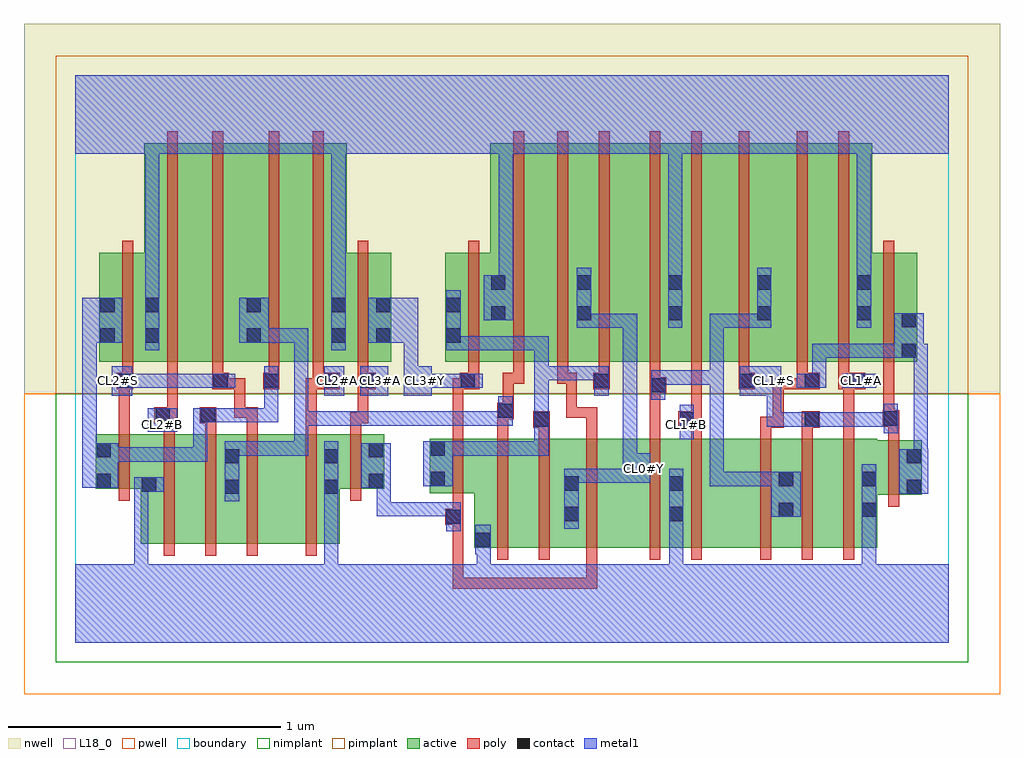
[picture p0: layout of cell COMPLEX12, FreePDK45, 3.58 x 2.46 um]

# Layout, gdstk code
import gdstk
lib = gdstk.Library(unit=1e-6, precision=1e-09)
def R(c, l, rs):  # rectangles x0, y0, x1, y1
    for r in rs: c.add(gdstk.rectangle(r[:2], r[2:], *l))
def A(c, l, x, y, w, h, nx, ny, dx, dy):  # array of equal rectangles
    R(c, l, [(x+i*dx, y+j*dy, x+i*dx+w, y+j*dy+h) for i in range(nx) for j in range(ny)])
active = (1, 0)
pwell = (2, 0)
nwell = (3, 0)
nimplant = (4, 0)
pimplant = (5, 0)
poly = (9, 0)
contact = (10, 0)
metal1 = (11, 0)
L18_0 = (18, 0)
boundary = (235, 0)

complex12 = lib.new_cell('COMPLEX12')
R(complex12, active, [(1.462,0.348,1.642,0.748), (1.462,0.348,1.522,0.684), (1.642,0.348,1.848,0.748), (1.788,0.348,2.048,0.748), (2.048,0.348,2.232,0.748), (2.172,0.348,2.352,0.748), (2.172,0.348,2.232,0.614), (2.352,0.348,2.634,0.748), (2.574,0.348,2.758,0.748), (2.758,0.348,2.938,0.748), (2.878,0.348,2.938,0.742), (1.788,0.356,1.848,0.748), (2.574,0.356,2.634,0.748), (0.24,0.364,0.42,0.764), (0.42,0.364,0.604,0.764), (0.544,0.364,0.724,0.764), (0.544,0.364,0.604,0.764), (0.724,0.364,0.968,0.764), (0.908,0.542,0.968,0.764), (2.878,0.542,3.102,0.742), (3.042,0.542,3.102,0.742), (1.298,0.548,1.522,0.748), (0.24,0.55,0.3,0.61), (0.074,0.564,0.134,0.764), (0.074,0.564,0.3,0.764), (0.908,0.564,1.132,0.764), (1.072,0.564,1.132,0.764), (1.298,0.57,1.358,0.748), (0.088,1.03,0.148,1.43), (0.088,1.03,0.312,1.43), (0.252,1.03,0.312,1.83), (0.252,1.03,0.432,1.83), (0.432,1.03,0.684,1.83), (0.624,1.03,0.684,1.724), (0.624,1.03,0.814,1.83), (0.814,1.03,0.994,1.83), (0.934,1.03,1.158,1.43), (0.934,1.03,0.994,1.83), (1.098,1.03,1.158,1.43), (1.356,1.03,1.416,1.43), (1.356,1.03,1.58,1.43), (1.52,1.03,1.7,1.83), (1.52,1.03,1.58,1.356), (1.7,1.03,1.894,1.83), (1.834,1.03,1.894,1.724), (1.834,1.03,2.048,1.83), (2.048,1.03,2.228,1.83), (2.168,1.03,2.228,1.83), (2.168,1.03,2.374,1.83), (2.374,1.03,2.554,1.83), (2.494,1.03,2.74,1.83), (2.494,1.03,2.554,1.724), (2.74,1.03,2.92,1.83), (2.86,1.03,3.084,1.43), (2.86,1.03,2.92,1.83), (3.024,1.03,3.084,1.43)])
R(complex12, pwell, [(-0.188,-0.188,3.388,0.912)])
R(complex12, nwell, [(-0.188,0.912,3.388,2.268)])
R(complex12, nimplant, [(-0.072,-0.072,3.272,0.912)])
R(complex12, pimplant, [(-0.072,0.912,3.272,2.152)])
A(complex12, poly, 1.554, 0.198, 0.04, 0.04, 3, 1, 0.106, 0)
A(complex12, poly, 1.554, 0.198, 0.146, 0.04, 3, 1, 0.106, 0)
A(complex12, poly, 2.51, 0.304, 0.04, 0.488, 3, 1, 0.152, 0)
A(complex12, poly, 0.324, 0.32, 0.04, 0.488, 3, 1, 0.152, 0)
R(complex12, poly, [(1.382,0.198,1.422,0.238), (1.382,0.198,1.594,0.238), (1.382,0.198,1.422,0.472), (1.554,0.198,1.594,0.238), (1.554,0.198,1.594,0.238), (1.766,0.198,1.806,0.238), (1.766,0.198,1.806,0.238), (1.872,0.198,1.912,0.238), (1.872,0.198,1.912,0.344), (1.546,0.304,1.586,0.792), (1.698,0.304,1.738,0.792), (1.872,0.304,1.912,0.792), (2.104,0.304,2.144,0.792), (2.256,0.304,2.296,0.792), (0.844,0.32,0.884,0.808), (1.356,0.432,1.422,0.492), (1.382,0.432,1.422,0.472), (1.382,0.432,1.422,0.472), (1.382,0.452,1.422,0.544), (2.978,0.498,3.018,0.786), (1.382,0.504,1.422,0.792), (0.16,0.52,0.2,0.808), (1.008,0.52,1.048,0.808), (2.978,0.746,3.018,0.832), (1.382,0.752,1.422,0.97), (1.546,0.752,1.586,0.86), (1.698,0.752,1.738,0.828), (1.872,0.752,1.912,0.864), (2.104,0.752,2.144,0.954), (2.256,0.752,2.296,0.828), (2.51,0.752,2.55,0.828), (2.662,0.752,2.702,0.828), (2.814,0.752,2.854,0.97), (0.16,0.768,0.2,0.97), (0.324,0.768,0.364,0.844), (0.476,0.768,0.516,0.844), (0.628,0.768,0.668,0.864), (0.844,0.768,0.884,0.97), (1.008,0.768,1.048,0.844), (1.678,0.788,1.738,0.848), (2.21,0.788,2.296,0.848), (2.51,0.788,2.55,0.828), (2.51,0.788,2.596,0.828), (2.556,0.788,2.596,0.828), (2.556,0.788,2.596,0.97), (2.662,0.788,2.728,0.848), (2.958,0.792,3.018,0.852), (0.29,0.804,0.364,0.864), (0.456,0.804,0.516,0.864), (1.008,0.804,1.074,0.844), (1.034,0.804,1.074,0.97), (2.256,0.808,2.296,0.848), (2.256,0.808,2.296,0.848), (2.256,0.808,2.296,1.026), (2.96,0.812,3,1.026), (2.96,0.812,3,0.852), (2.96,0.812,3,0.852), (1.546,0.82,1.606,0.88), (0.324,0.824,0.364,0.864), (0.324,0.824,0.376,0.864), (0.336,0.824,0.376,1.026), (0.582,0.824,0.622,0.864), (0.582,0.824,0.668,0.864), (0.582,0.824,0.622,0.97), (0.628,0.824,0.668,0.864), (1.798,0.824,1.838,0.864), (1.798,0.824,1.912,0.864), (1.798,0.824,1.838,0.99), (1.872,0.824,1.912,0.864), (1.566,0.84,1.606,0.99), (2.104,0.914,2.144,0.954), (2.104,0.914,2.144,0.954), (2.104,0.914,2.166,0.974), (0.152,0.93,0.212,0.99), (0.16,0.93,0.2,0.97), (0.16,0.93,0.2,0.97), (0.502,0.93,0.562,0.99), (0.522,0.93,0.622,0.97), (0.582,0.93,0.622,0.97), (0.688,0.93,0.748,0.99), (0.844,0.93,0.91,0.97), (0.87,0.93,0.91,0.97), (0.87,0.93,0.968,0.99), (1.034,0.93,1.1,0.99), (1.382,0.93,1.448,0.97), (1.408,0.93,1.448,0.97), (1.408,0.93,1.48,0.99), (1.898,0.93,1.958,0.99), (2.43,0.93,2.49,0.99), (2.556,0.93,2.596,0.97), (2.556,0.93,2.684,0.97), (2.644,0.93,2.728,0.99), (2.796,0.93,2.894,0.99), (2.814,0.93,2.854,0.97), (2.814,0.93,2.854,0.97), (2.104,0.934,2.144,1.026), (0.172,0.95,0.212,1.026), (0.502,0.95,0.542,1.026), (0.708,0.95,0.748,1.026), (0.87,0.95,0.91,1.026), (1.034,0.95,1.074,1.026), (1.44,0.95,1.48,1.026), (1.566,0.95,1.644,0.99), (1.604,0.95,1.644,1.026), (1.766,0.95,1.806,0.99), (1.766,0.95,1.806,1.026), (1.766,0.95,1.838,0.99), (1.798,0.95,1.838,0.99), (1.918,0.95,1.958,1.026), (2.43,0.95,2.47,1.026), (2.644,0.95,2.684,1.026), (2.796,0.95,2.836,1.026), (0.172,0.986,0.212,1.474), (0.336,0.986,0.376,1.874), (0.502,0.986,0.542,1.874), (0.708,0.986,0.748,1.874), (0.87,0.986,0.91,1.874), (1.034,0.986,1.074,1.474), (1.44,0.986,1.48,1.474), (1.604,0.986,1.644,1.874), (1.766,0.986,1.806,1.874), (1.918,0.986,1.958,1.874), (2.104,0.986,2.144,1.874), (2.256,0.986,2.296,1.874), (2.43,0.986,2.47,1.874), (2.644,0.986,2.684,1.874), (2.796,0.986,2.836,1.874), (2.96,0.986,3,1.474)])
R(complex12, contact, [(1.466,0.352,1.518,0.404), (1.36,0.436,1.412,0.488), (1.792,0.446,1.844,0.498), (2.176,0.446,2.228,0.498), (2.578,0.462,2.63,0.514), (2.882,0.462,2.934,0.514), (0.548,0.546,0.6,0.598), (0.912,0.546,0.964,0.598), (3.046,0.546,3.098,0.598), (0.244,0.554,0.296,0.606), (1.792,0.558,1.844,0.61), (2.176,0.558,2.228,0.61), (0.078,0.568,0.13,0.62), (1.076,0.568,1.128,0.62), (1.302,0.574,1.354,0.626), (2.578,0.574,2.63,0.626), (2.882,0.574,2.934,0.626), (0.548,0.658,0.6,0.71), (0.912,0.658,0.964,0.71), (3.046,0.658,3.098,0.71), (0.078,0.68,0.13,0.732), (1.076,0.68,1.128,0.732), (1.302,0.686,1.354,0.738), (1.682,0.792,1.734,0.844), (2.214,0.792,2.266,0.844), (2.672,0.792,2.724,0.844), (2.962,0.796,3.014,0.848), (0.294,0.808,0.346,0.86), (0.46,0.808,0.512,0.86), (1.55,0.824,1.602,0.876), (2.11,0.918,2.162,0.97), (0.156,0.934,0.208,0.986), (0.506,0.934,0.558,0.986), (0.692,0.934,0.744,0.986), (0.912,0.934,0.964,0.986), (1.044,0.934,1.096,0.986), (1.412,0.934,1.464,0.986), (1.902,0.934,1.954,0.986), (2.434,0.934,2.486,0.986), (2.672,0.934,2.724,0.986), (2.838,0.934,2.89,0.986), (3.028,1.044,3.08,1.096), (0.092,1.1,0.144,1.152), (0.256,1.1,0.308,1.152), (0.628,1.1,0.68,1.152), (0.938,1.1,0.99,1.152), (1.102,1.1,1.154,1.152), (1.36,1.1,1.412,1.152), (3.028,1.156,3.08,1.208), (1.524,1.182,1.576,1.234), (1.838,1.182,1.89,1.234), (2.172,1.182,2.224,1.234), (2.498,1.182,2.55,1.234), (2.864,1.182,2.916,1.234), (0.092,1.212,0.144,1.264), (0.256,1.212,0.308,1.264), (0.628,1.212,0.68,1.264), (0.938,1.212,0.99,1.264), (1.102,1.212,1.154,1.264), (1.36,1.212,1.412,1.264), (1.524,1.294,1.576,1.346), (1.838,1.294,1.89,1.346), (2.172,1.294,2.224,1.346), (2.498,1.294,2.55,1.346), (2.864,1.294,2.916,1.346)])
R(complex12, metal1, [(0,0,3.2,0.288), (0.216,0.236,0.268,0.606), (0.912,0.236,0.964,0.57), (1.47,0.236,1.522,0.376), (2.176,0.236,2.228,0.47), (2.882,0.236,2.934,0.288), (2.882,0.236,2.934,0.288), (2.882,0.236,2.934,0.486), (1.466,0.324,1.522,0.432), (1.47,0.324,1.522,0.376), (1.47,0.324,1.522,0.376), (1.36,0.408,1.412,0.516), (1.792,0.418,1.844,0.638), (2.176,0.418,2.228,0.47), (2.176,0.418,2.228,0.47), (2.176,0.418,2.228,0.638), (2.882,0.434,2.934,0.654), (2.55,0.462,2.658,0.626), (1.104,0.464,1.156,0.516), (1.104,0.464,1.256,0.516), (1.104,0.464,1.156,0.62), (1.204,0.464,1.256,0.516), (1.204,0.464,1.412,0.516), (0.548,0.518,0.6,0.738), (0.912,0.518,0.964,0.57), (0.912,0.518,0.964,0.57), (0.912,0.518,0.964,0.738), (3.018,0.546,3.126,0.71), (0.216,0.554,0.268,0.606), (0.216,0.554,0.268,0.606), (0.216,0.554,0.324,0.606), (0.026,0.568,0.158,0.732), (1.048,0.568,1.156,0.732), (1.274,0.574,1.382,0.738), (2.324,0.574,2.376,0.626), (2.324,0.574,2.382,0.626), (2.324,0.574,2.376,0.998), (2.33,0.574,2.382,0.626), (2.33,0.574,2.602,0.626), (1.792,0.586,1.844,0.638), (1.792,0.586,1.844,0.638), (1.792,0.586,1.844,0.638), (1.792,0.586,1.844,0.638), (1.792,0.586,2.058,0.638), (2.006,0.586,2.106,0.694), (2.006,0.642,2.058,1.206), (3.072,0.658,3.124,0.71), (3.072,0.658,3.124,0.71), (3.072,0.658,3.124,1.096), (0.106,0.664,0.158,0.716), (0.106,0.664,0.158,0.716), (0.106,0.664,0.374,0.716), (0.322,0.664,0.374,0.716), (0.322,0.664,0.374,0.716), (0.322,0.664,0.374,0.716), (0.322,0.664,0.484,0.716), (0.432,0.664,0.484,0.716), (0.432,0.664,0.484,0.86), (0.026,0.68,0.078,1.152), (0.548,0.686,0.696,0.738), (0.644,0.686,0.696,0.738), (0.644,0.686,0.854,0.738), (0.802,0.686,0.854,0.738), (0.802,0.686,0.854,0.848), (1.33,0.686,1.416,0.738), (1.364,0.686,1.416,0.738), (1.364,0.686,1.624,0.738), (1.572,0.686,1.624,0.738), (1.572,0.686,1.624,0.738), (1.572,0.686,1.624,0.738), (1.572,0.686,1.734,0.738), (1.682,0.686,1.734,0.738), (1.682,0.686,1.734,0.872), (2.214,0.746,2.266,0.872), (1.682,0.764,1.734,0.872), (2.962,0.768,3.014,0.876), (0.266,0.774,0.374,0.86), (2.534,0.792,2.586,0.844), (2.534,0.792,2.696,0.844), (2.534,0.792,2.586,0.958), (2.644,0.792,2.752,0.844), (2.7,0.792,2.752,0.844), (2.7,0.792,2.752,0.844), (2.7,0.792,2.862,0.844), (2.81,0.792,2.862,0.844), (2.81,0.792,2.862,0.844), (2.81,0.792,2.862,0.844), (2.81,0.792,3.014,0.844), (0.802,0.796,0.854,0.848), (0.802,0.796,0.854,0.848), (0.802,0.796,0.854,0.848), (0.802,0.796,0.964,0.848), (0.802,0.796,0.854,1.152), (0.912,0.796,0.964,0.848), (0.912,0.796,0.964,0.848), (0.912,0.796,0.964,0.848), (0.912,0.796,1.256,0.848), (1.204,0.796,1.256,0.848), (1.204,0.796,1.256,0.848), (1.204,0.796,1.256,0.848), (1.204,0.796,1.416,0.848), (1.364,0.796,1.416,0.848), (1.364,0.796,1.602,0.848), (1.55,0.796,1.602,0.848), (1.55,0.796,1.602,0.848), (1.55,0.796,1.602,0.904), (0.432,0.808,0.484,0.86), (0.432,0.808,0.484,0.86), (0.432,0.808,0.54,0.86), (0.488,0.808,0.744,0.86), (0.692,0.808,0.744,0.86), (0.692,0.808,0.744,0.958), (1.682,0.82,1.734,0.872), (1.682,0.82,1.734,0.872), (1.682,0.82,1.734,1.014), (2.11,0.89,2.162,0.998), (0.134,0.906,0.208,1.014), (0.692,0.906,0.744,0.958), (0.692,0.906,0.744,0.958), (0.692,0.906,0.744,1.014), (0.912,0.906,0.986,1.014), (1.044,0.906,1.146,1.014), (1.204,0.906,1.306,1.014), (1.902,0.906,1.954,1.014), (2.434,0.906,2.586,1.014), (2.534,0.906,2.586,0.958), (2.534,0.906,2.586,0.958), (0.156,0.934,0.374,0.986), (0.322,0.934,0.374,0.986), (0.322,0.934,0.374,0.986), (0.322,0.934,0.374,0.986), (0.322,0.934,0.49,0.986), (0.438,0.934,0.49,0.986), (0.438,0.934,0.53,0.986), (0.478,0.934,0.586,0.986), (1.254,0.934,1.306,0.986), (1.254,0.934,1.306,0.986), (1.254,0.934,1.436,0.986), (1.384,0.934,1.492,0.986), (2.644,0.934,2.752,0.986), (2.7,0.934,2.752,0.986), (2.7,0.934,2.752,0.986), (2.7,0.934,2.752,1.096), (2.81,0.934,2.934,0.986), (2.11,0.946,2.266,0.998), (2.214,0.946,2.266,0.998), (2.214,0.946,2.272,0.998), (2.22,0.946,2.272,0.998), (2.22,0.946,2.376,0.998), (2.324,0.946,2.376,0.998), (2.324,0.946,2.376,0.998), (2.324,0.946,2.376,0.998), (2.324,0.946,2.376,1.206), (1.204,0.962,1.256,1.152), (1.682,0.962,1.734,1.014), (1.682,0.962,1.734,1.014), (1.682,0.962,1.734,1.014), (1.682,0.962,1.844,1.014), (1.682,0.962,1.734,1.124), (1.792,0.962,1.844,1.014), (1.792,0.962,1.954,1.014), (2.7,1.044,2.752,1.096), (2.7,1.044,2.862,1.096), (2.81,1.044,2.862,1.096), (2.81,1.044,2.862,1.096), (2.81,1.044,2.862,1.096), (2.81,1.044,3.052,1.096), (3,1.044,3.052,1.096), (3,1.044,3.052,1.096), (3,1.044,3.108,1.208), (3.056,1.044,3.108,1.096), (3.056,1.044,3.124,1.096), (0.256,1.072,0.308,1.292), (0.938,1.072,0.99,1.292), (1.36,1.072,1.412,1.292), (1.36,1.072,1.416,1.124), (1.364,1.072,1.416,1.124), (1.364,1.072,1.624,1.124), (1.572,1.072,1.624,1.124), (1.572,1.072,1.624,1.124), (1.572,1.072,1.624,1.124), (1.572,1.072,1.734,1.124), (1.682,1.072,1.734,1.124), (0.026,1.1,0.078,1.152), (0.026,1.1,0.078,1.152), (0.026,1.1,0.078,1.152), (0.026,1.1,0.078,1.152), (0.026,1.1,0.172,1.264), (0.6,1.1,0.708,1.264), (0.656,1.1,0.708,1.152), (0.656,1.1,0.708,1.152), (0.656,1.1,0.854,1.152), (0.802,1.1,0.854,1.152), (0.802,1.1,0.854,1.152), (0.802,1.1,0.854,1.152), (1.074,1.1,1.256,1.264), (1.838,1.154,1.89,1.206), (1.838,1.154,1.89,1.206), (1.838,1.154,1.89,1.374), (1.838,1.154,2.058,1.206), (2.006,1.154,2.058,1.206), (2.006,1.154,2.058,1.206), (2.006,1.154,2.058,1.206), (2.172,1.154,2.224,1.374), (2.324,1.154,2.376,1.206), (2.324,1.154,2.55,1.206), (2.498,1.154,2.55,1.206), (2.498,1.154,2.55,1.206), (2.498,1.154,2.55,1.374), (2.864,1.154,2.916,1.374), (1.496,1.182,1.604,1.346), (0.256,1.24,0.308,1.844), (0.938,1.24,0.99,1.844), (1.552,1.294,1.604,1.844), (2.172,1.322,2.224,1.844), (2.864,1.322,2.916,1.844), (0,1.792,3.2,2.08)])
A(complex12, L18_0, 0.934, 0.934, 0.052, 0.052, 3, 1, 0.16, 0)
R(complex12, L18_0, [(0,0,3.2,0.288), (0.216,0.236,0.268,0.606), (0.912,0.236,0.964,0.57), (1.47,0.236,1.522,0.376), (2.176,0.236,2.228,0.47), (2.882,0.236,2.934,0.288), (2.882,0.236,2.934,0.288), (2.882,0.236,2.934,0.486), (1.466,0.324,1.522,0.432), (1.47,0.324,1.522,0.376), (1.47,0.324,1.522,0.376), (1.36,0.408,1.412,0.516), (1.792,0.418,1.844,0.638), (2.176,0.418,2.228,0.47), (2.176,0.418,2.228,0.47), (2.176,0.418,2.228,0.638), (2.882,0.434,2.934,0.654), (1.104,0.464,1.156,0.516), (1.104,0.464,1.156,0.62), (1.104,0.464,1.256,0.516), (1.204,0.464,1.256,0.516), (1.204,0.464,1.412,0.516), (0.912,0.518,0.964,0.57), (0.912,0.518,0.964,0.57), (0.912,0.518,0.964,0.738), (0.216,0.554,0.268,0.606), (0.216,0.554,0.268,0.606), (0.216,0.554,0.324,0.606), (1.048,0.568,1.156,0.732), (1.792,0.586,1.844,0.638), (1.792,0.586,1.844,0.638), (1.792,0.586,1.844,0.638), (1.792,0.586,1.844,0.638), (1.792,0.586,2.058,0.638), (2.006,0.586,2.106,0.694), (2.054,0.614,2.106,0.666), (2.006,0.642,2.058,1.206), (2.214,0.746,2.266,0.872), (2.962,0.768,3.014,0.876), (0.266,0.774,0.374,0.86), (0.294,0.774,0.346,0.826), (2.214,0.774,2.266,0.826), (2.534,0.792,2.586,0.844), (2.534,0.792,2.586,0.958), (2.534,0.792,2.696,0.844), (2.644,0.792,2.752,0.844), (2.7,0.792,2.752,0.844), (2.7,0.792,2.752,0.844), (2.7,0.792,2.862,0.844), (2.81,0.792,2.862,0.844), (2.81,0.792,2.862,0.844), (2.81,0.792,2.862,0.844), (2.81,0.792,3.014,0.844), (0.134,0.906,0.208,1.014), (0.912,0.906,0.986,1.014), (1.044,0.906,1.146,1.014), (1.204,0.906,1.306,1.014), (2.434,0.906,2.586,1.014), (2.534,0.906,2.586,0.958), (2.534,0.906,2.586,0.958), (0.134,0.934,0.186,0.986), (0.156,0.934,0.374,0.986), (0.322,0.934,0.374,0.986), (0.322,0.934,0.374,0.986), (0.322,0.934,0.374,0.986), (0.322,0.934,0.49,0.986), (0.438,0.934,0.49,0.986), (0.438,0.934,0.53,0.986), (0.478,0.934,0.586,0.986), (1.254,0.934,1.306,0.986), (1.254,0.934,1.306,0.986), (1.254,0.934,1.436,0.986), (1.384,0.934,1.492,0.986), (2.534,0.934,2.586,0.986), (2.81,0.934,2.934,0.986), (2.854,0.934,2.906,0.986), (1.204,0.962,1.256,1.152), (0.256,1.072,0.308,1.292), (0.938,1.072,0.99,1.292), (1.074,1.1,1.256,1.264), (1.838,1.154,1.89,1.206), (1.838,1.154,1.89,1.206), (1.838,1.154,1.89,1.374), (1.838,1.154,2.058,1.206), (2.006,1.154,2.058,1.206), (2.006,1.154,2.058,1.206), (2.006,1.154,2.058,1.206), (2.172,1.154,2.224,1.374), (2.864,1.154,2.916,1.374), (1.496,1.182,1.604,1.346), (0.256,1.24,0.308,1.844), (0.938,1.24,0.99,1.844), (1.552,1.294,1.604,1.844), (2.172,1.322,2.224,1.844), (2.864,1.322,2.916,1.844), (0,1.792,3.2,2.08)])
R(complex12, boundary, [(0,0,3.2,2.08)])
complex12.add(gdstk.Label('CL0#Y', (2.08,0.64), layer=11, texttype=0))
complex12.add(gdstk.Label('CL1#A', (2.88,0.96), layer=11, texttype=0))
complex12.add(gdstk.Label('CL1#B', (2.24,0.8), layer=11, texttype=0))
complex12.add(gdstk.Label('CL1#S', (2.56,0.96), layer=11, texttype=0))
complex12.add(gdstk.Label('CL2#A', (0.96,0.96), layer=11, texttype=0))
complex12.add(gdstk.Label('CL2#B', (0.32,0.8), layer=11, texttype=0))
complex12.add(gdstk.Label('CL2#S', (0.16,0.96), layer=11, texttype=0))
complex12.add(gdstk.Label('CL3#A', (1.12,0.96), layer=11, texttype=0))
complex12.add(gdstk.Label('CL3#Y', (1.28,0.96), layer=11, texttype=0))

lib.write_gds('COMPLEX12.gds')
